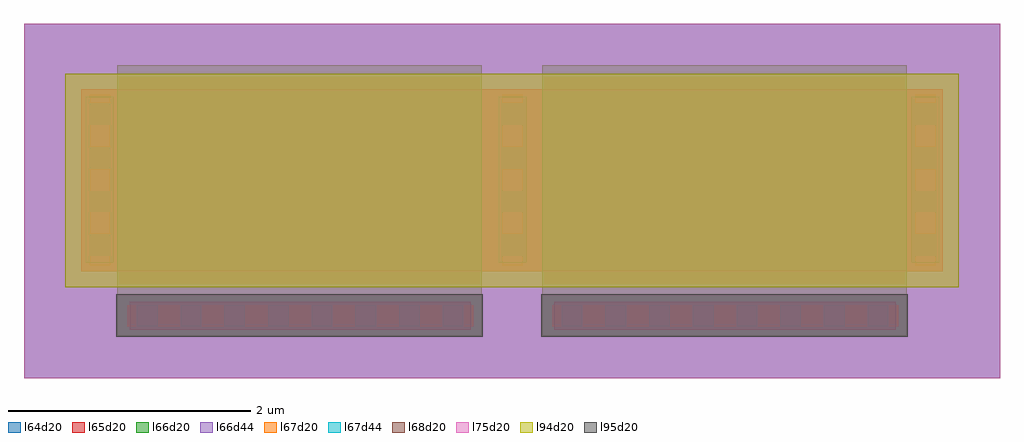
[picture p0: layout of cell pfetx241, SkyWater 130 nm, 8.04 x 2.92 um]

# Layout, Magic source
magic
tech sky130a
<< l65d20 >>
rect 0 0 710 150
<< l66d44 >>
rect 7 13 24 30
rect 687 13 704 30
rect 7 49 24 66
rect 687 49 704 66
rect 7 85 24 102
rect 687 85 704 102
rect 7 121 24 138
rect 687 121 704 138
rect 347 13 364 30
rect 347 49 364 66
rect 347 85 364 102
rect 347 121 364 138
rect 46 -45 63 -28
rect 396 -45 413 -28
rect 82 -45 99 -28
rect 432 -45 449 -28
rect 118 -45 135 -28
rect 468 -45 485 -28
rect 154 -45 171 -28
rect 504 -45 521 -28
rect 190 -45 207 -28
rect 540 -45 557 -28
rect 226 -45 243 -28
rect 576 -45 593 -28
rect 262 -45 279 -28
rect 612 -45 629 -28
rect 298 -45 315 -28
rect 648 -45 665 -28
<< l67d20 >>
rect 7 5 24 146
rect 687 5 704 146
rect 347 5 364 146
rect 38 -45 323 -28
rect 388 -45 673 -28
<< l67d44 >>
rect 7 13 24 30
rect 687 13 704 30
rect 7 49 24 66
rect 687 49 704 66
rect 7 85 24 102
rect 687 85 704 102
rect 7 121 24 138
rect 687 121 704 138
rect 347 13 364 30
rect 347 49 364 66
rect 347 85 364 102
rect 347 121 364 138
rect 46 -45 63 -28
rect 396 -45 413 -28
rect 82 -45 99 -28
rect 432 -45 449 -28
rect 118 -45 135 -28
rect 468 -45 485 -28
rect 154 -45 171 -28
rect 504 -45 521 -28
rect 190 -45 207 -28
rect 540 -45 557 -28
rect 226 -45 243 -28
rect 576 -45 593 -28
rect 262 -45 279 -28
rect 612 -45 629 -28
rect 298 -45 315 -28
rect 648 -45 665 -28
<< l68d20 >>
rect 4 7 27 144
rect 684 7 707 144
rect 344 7 367 144
rect 40 -48 321 -25
rect 390 -48 671 -25
<< l66d20 >>
rect 30 -53 330 -20
rect 380 -53 680 -20
rect 30 -20 330 170
rect 380 -20 680 170
<< l95d20 >>
rect 29 -54 331 -19
rect 379 -54 681 -19
<< l94d20 >>
rect -13 -13 723 163
<< l64d20 >>
rect -47 -88 757 204
<< l75d20 >>
rect -47 -88 757 204
<< end >>
